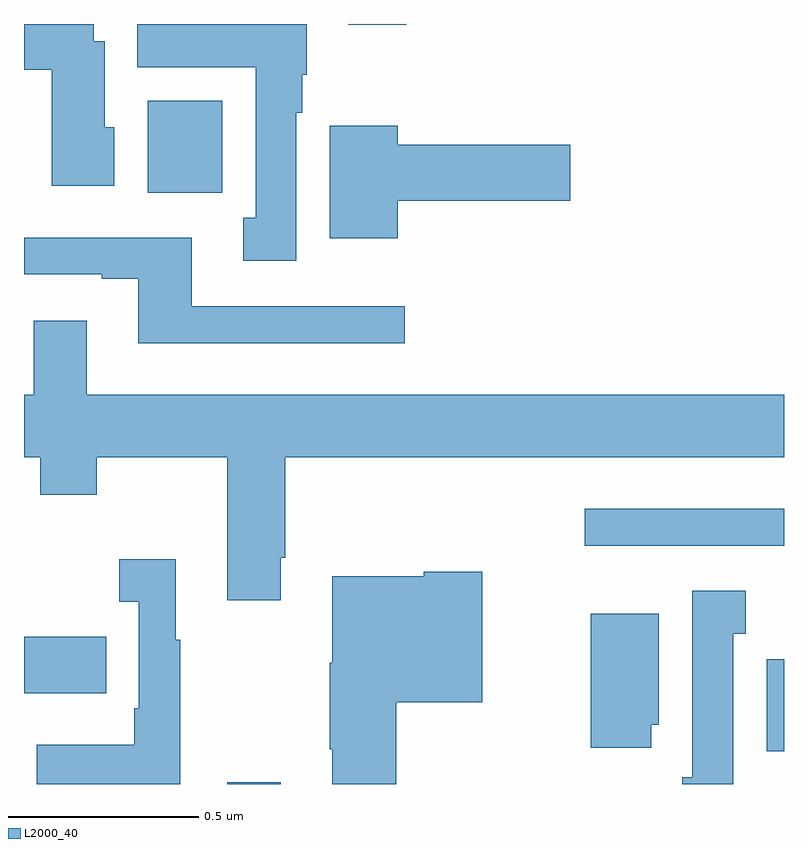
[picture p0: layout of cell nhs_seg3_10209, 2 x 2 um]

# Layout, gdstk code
import gdstk
lib = gdstk.Library(unit=1e-6, precision=1e-09)
def R(c, l, rs):  # rectangles x0, y0, x1, y1
    for r in rs: c.add(gdstk.rectangle(r[:2], r[2:], *l))
def P(c, l, *ps):  # polygons
    for p in ps: c.add(gdstk.Polygon(p, *l))
L2000_40 = (2000, 40)

nhs_seg3_10209 = lib.new_cell('nhs_seg3_10209')
R(nhs_seg3_10209, L2000_40, [(238.535,689.4,238.675,689.404), (239.954,689.486,240,689.728), (238,689.639,238.217,689.787), (239.475,690.027,240,690.124), (238.325,690.956,238.522,691.198), (238.853,691.398,239.006,691.4)])
P(nhs_seg3_10209, L2000_40, [(238.717,691.166),(238.732,691.166),(238.732,691.266),(238.744,691.266),(238.744,691.4),(238.298,691.4),(238.298,691.286),(238.61,691.286),(238.61,690.89),(238.577,690.89),(238.577,690.777),(238.717,690.777)],
  [(238.237,691.128),(238.213,691.128),(238.213,691.354),(238.183,691.354),(238.183,691.399),(238,691.399),(238,691.28),(238.073,691.28),(238.073,690.974),(238.237,690.974)],
  [(238.984,690.935),(239.437,690.935),(239.437,691.082),(238.984,691.082),(238.984,691.132),(238.805,691.132),(238.805,690.836),(238.984,690.836)],
  [(239.002,690.657),(238.441,690.657),(238.441,690.838),(238,690.838),(238,690.741),(238.205,690.741),(238.205,690.729),(238.301,690.729),(238.301,690.56),(239.002,690.56)],
  [(238.675,689.995),(238.688,689.995),(238.688,690.26),(240,690.26),(240,690.424),(238.165,690.424),(238.165,690.619),(238.025,690.619),(238.025,690.424),(238,690.424),(238,690.26),(238.043,690.26),(238.043,690.161),(238.191,690.161),(238.191,690.26),(238.535,690.26),(238.535,689.883),(238.675,689.883)],
  [(238.411,689.779),(238.399,689.779),(238.399,689.992),(238.251,689.992),(238.251,689.879),(238.302,689.879),(238.302,689.599),(238.29,689.599),(238.29,689.503),(238.033,689.503),(238.033,689.4),(238.411,689.4)],
  [(238.979,689.615),(239.206,689.615),(239.206,689.959),(239.052,689.959),(239.052,689.947),(238.811,689.947),(238.811,689.719),(238.804,689.719),(238.804,689.491),(238.811,689.491),(238.811,689.4),(238.979,689.4)],
  [(239.866,689.795),(239.899,689.795),(239.899,689.908),(239.759,689.908),(239.759,689.418),(239.732,689.418),(239.732,689.4),(239.866,689.4)],
  [(239.65,689.556),(239.671,689.556),(239.671,689.848),(239.492,689.848),(239.492,689.496),(239.65,689.496)])

lib.write_gds('nhs_seg3_10209.gds')
